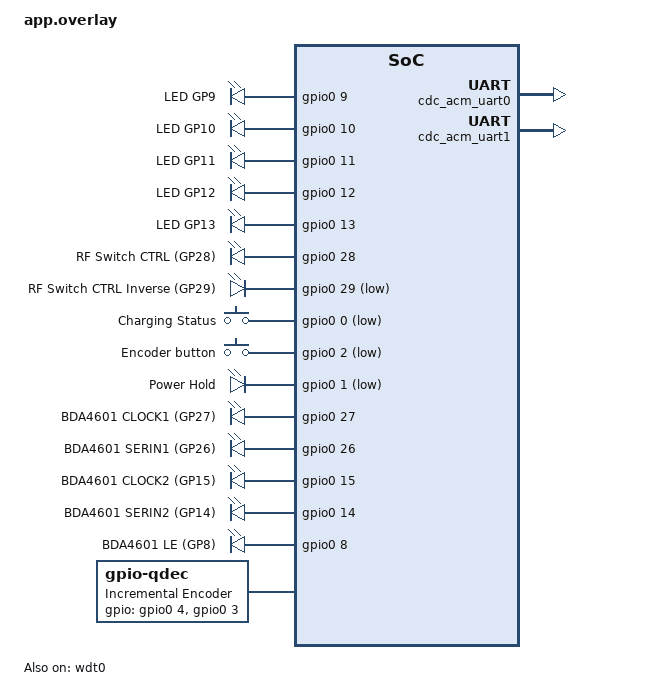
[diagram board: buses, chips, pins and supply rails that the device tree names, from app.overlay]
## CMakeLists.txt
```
cmake_minimum_required(VERSION 4.1.2)

set(BOARD rp2040_zero)

find_package(Zephyr)
project(fox-attenuator)

find_program(PICOTOOL_EXE NAMES picotool REQUIRED)

add_custom_target(flash_picotool
        COMMAND ${PICOTOOL_EXE} load -x ${CMAKE_BINARY_DIR}/zephyr/zephyr.uf2
        COMMENT "Wgrywanie oprogramowania na RP2040 przez picotool..."
        DEPENDS zephyr_final
)

add_subdirectory(src)
```

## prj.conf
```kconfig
CONFIG_GPIO=y
CONFIG_USB_DEVICE_STACK_NEXT=y
CONFIG_USBD_CDC_ACM_CLASS=y


# shell
CONFIG_CONSOLE=y
CONFIG_UART_CONSOLE=y
#CONFIG_UART_LINE_CTRL=y
CONFIG_SHELL=y
CONFIG_SHELL_BACKEND_SERIAL=y
CONFIG_SHELL_CMD_BUFF_SIZE=64


# logging
#CONFIG_LOG=n
#CONFIG_LOG_MODE_DEFERRED=y
#CONFIG_LOG_BACKEND_UART=y
#CONFIG_USBD_CDC_ACM_LOG_LEVEL_OFF=y
#CONFIG_LOG_BUFFER_SIZE=12000
#CONFIG_LOG_RUNTIME_FILTERING=y
#CONFIG_LOG_PRINTK=y

# C++
CONFIG_CPP=y
CONFIG_STD_CPP23=y
CONFIG_GLIBCXX_LIBCPP=y
CONFIG_REQUIRES_FULL_LIBCPP=y

# Enable Watchdog driver support
CONFIG_WATCHDOG=y
CONFIG_WDT_RPI_PICO=y

# inne
CONFIG_LED_STRIP=y
CONFIG_WS2812_STRIP_RPI_PICO_PIO=y
CONFIG_INPUT=y
CONFIG_INPUT_GPIO_KEYS=y
CONFIG_INPUT_GPIO_QDEC=y
CONFIG_SIZE_OPTIMIZATIONS=y
CONFIG_REBOOT=y
CONFIG_CLOCK_CONTROL=y
CONFIG_ZBUS=y

CONFIG_MAIN_STACK_SIZE=4096
CONFIG_ISR_STACK_SIZE=4096
CONFIG_IDLE_STACK_SIZE=4096
CONFIG_SYSTEM_WORKQUEUE_STACK_SIZE=4096
```

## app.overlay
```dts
#include <zephyr/dt-bindings/input/input-event-codes.h>

/ {
	chosen {
		zephyr,console = &cdc_acm_uart0;
		zephyr,shell-uart = &cdc_acm_uart1;
	};

	aliases {
		led-ws2812 = &led_strip;
		chg-status = &chg_stat_gpio;
		pwr-off = &pwr_off_gpio;
		btn0 = &btn_gpio;
		encoder0 = &encoder;

		bda-clk1 = &bda_clk1;
		bda-serin1 = &bda_serin1;
		bda-clk2 = &bda_clk2;
		bda-serin2 = &bda_serin2;
		bda-le = &bda_le;

		rf-sw-ctrl = &rf_sw_ctrl;
		rf-sw-ctrl-n = &rf_sw_ctrl_n;

	};

	leds {
		compatible = "gpio-leds";

		led9: led_9 {
			gpios = <&gpio0 9 GPIO_ACTIVE_HIGH>;
			label = "LED GP9";
		};

		led10: led_10 {
			gpios = <&gpio0 10 GPIO_ACTIVE_HIGH>;
			label = "LED GP10";
		};

		led11: led_11 {
			gpios = <&gpio0 11 GPIO_ACTIVE_HIGH>;
			label = "LED GP11";
		};

		led12: led_12 {
			gpios = <&gpio0 12 GPIO_ACTIVE_HIGH>;
			label = "LED GP12";
		};

		led13: led_13 {
			gpios = <&gpio0 13 GPIO_ACTIVE_HIGH>;
			label = "LED GP13";
		};
	};

	rf_switch {
		compatible = "gpio-leds";

		rf_sw_ctrl: rf_sw_ctrl {
			gpios = <&gpio0 28 GPIO_ACTIVE_HIGH>;
			label = "RF Switch CTRL (GP28)";
		};

		rf_sw_ctrl_n: rf_sw_ctrl_n {
			gpios = <&gpio0 29 GPIO_ACTIVE_LOW>;
			label = "RF Switch CTRL Inverse (GP29)";
		};
	};

	gpio_keys {
		compatible = "gpio-keys";

		chg_stat_gpio: chg_stat {
			gpios = <&gpio0 0 (GPIO_PULL_UP | GPIO_ACTIVE_LOW)>;
			label = "Charging Status";
			zephyr,code = <INPUT_KEY_0>;
		};

		btn_gpio: button_2 {
			gpios = <&gpio0 2 (GPIO_PULL_UP | GPIO_ACTIVE_LOW)>;
			label = "Encoder button";
			zephyr,code = <INPUT_KEY_ENTER>;
		};
	};

	pwr_ctrl {
		compatible = "gpio-leds";

		pwr_off_gpio: pwr_off {
			gpios = <&gpio0 1 GPIO_ACTIVE_LOW>;
			label = "Power Hold";
		};
	};

	bda4601_if {
		compatible = "gpio-leds";

		bda_clk1: bda_clk1 {
			gpios = <&gpio0 27 GPIO_ACTIVE_HIGH>;
			label = "BDA4601 CLOCK1 (GP27)";
		};

		bda_serin1: bda_serin1 {
			gpios = <&gpio0 26 GPIO_ACTIVE_HIGH>;
			label = "BDA4601 SERIN1 (GP26)";
		};

		bda_clk2: bda_clk2 {
			gpios = <&gpio0 15 GPIO_ACTIVE_HIGH>;
			label = "BDA4601 CLOCK2 (GP15)";
		};

		bda_serin2: bda_serin2 {
			gpios = <&gpio0 14 GPIO_ACTIVE_HIGH>;
			label = "BDA4601 SERIN2 (GP14)";
		};

		bda_le: bda_le {
			gpios = <&gpio0 8 (GPIO_ACTIVE_HIGH)>;
			label = "BDA4601 LE (GP8)";
		};
	};

	encoder: encoder {
		compatible = "gpio-qdec";
		gpios = <&gpio0 4 (GPIO_PULL_UP | GPIO_ACTIVE_HIGH)>, /* Phase A */
		        <&gpio0 3 (GPIO_PULL_UP | GPIO_ACTIVE_HIGH)>; /* Phase B */
		steps-per-period = <4>;
		sample-time-us = <200>;
		idle-timeout-ms = <100>;
		zephyr,axis = <0>;
		label = "Incremental Encoder";
	};

};

&uart0 {
	status = "disabled";
};

&zephyr_udc0 {
	cdc_acm_uart0: cdc_acm_uart0 {
		compatible = "zephyr,cdc-acm-uart";
	};

	cdc_acm_uart1: cdc_acm_uart1 {
		compatible = "zephyr,cdc-acm-uart";
	};
};

&pio0 {
	status = "okay";

	pio_ws2812: ws2812 {
		status = "okay";
		compatible = "worldsemi,ws2812-rpi-pio";
		bit-waveform = <3 3 4>;
		pinctrl-0 = <&ws2812_default>;
		pinctrl-names = "default";

		led_strip: led_strip {
			status = "okay";
			compatible = "worldsemi,ws2812-pb";
			chain-length = <1>;
			color-mapping = <LED_COLOR_ID_BLUE LED_COLOR_ID_RED LED_COLOR_ID_GREEN>;
			reset-delay = <64>;
		};
	};
};

&pinctrl {
	ws2812_default: ws2812_default {
		group1 {
			pinmux = <PIO0_P16>;
		};
	};
};

&clk_sys {
	clock-frequency = <DT_FREQ_M(48)>;
};

&clk_peri {
	clock-frequency = <DT_FREQ_M(48)>;
};

&vreg {
	raspberrypi,brown-out-detection;

	/* in uV
	 * Default: 860000 (0.86V).
	 * - 860000  (0.86V)
	 * - 903000  (0.903V)
	 * - 946000  (0.946V)
	 * - 989000  (0.989V)
	 * - 1032000 (1.032V)
	 */
	raspberrypi,brown-out-threshold = <1032000>;
};

&wdt0 {
	compatible = "raspberrypi,pico-watchdog";
	status = "okay";
};
```

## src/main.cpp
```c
#include "event.hpp"
#include "hardwareManager.hpp"
#include "inputListener.hpp"
#include "logicManager.hpp"
#include "watchdog.hpp"
#include <zephyr/kernel.h>

int main()
{
    auto wdt = Watchdog::Get();
    if (not wdt) {
        return -ENODEV;
    }

    wdt->Feed();

    msgbus::Bus eventBus;
    InputListener inputListener(eventBus);
    HardwareManager::Create(eventBus);
    LogicManager appLogic{eventBus};
    k_msleep(10);
    appLogic.Start();
    
    while (true) {
        wdt->Feed();
        k_msleep(1000);
    }

    return 0;
}
```

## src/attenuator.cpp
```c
#include "attenuator.hpp"

void Attenuator::Apply(int32_t value)
{
    if (bypass_ && value < 0) {
        bypass_ = false;
        return;
    }
    if (not bypass_ && value > 0 && attenuation_ == kMaxAttenuation) {
        bypass_ = true;
        return;
    }
    const int currentAttenuation = int32_t(attenuation_) + value;
    if (currentAttenuation >= kMaxAttenuation) {
        attenuation_ = kMaxAttenuation;
        return;
    }
    if (currentAttenuation <= kMinAttenuation) {
        attenuation_ = kMinAttenuation;
        return;
    }
    attenuation_ += value;
}

uint8_t Attenuator::GetAttenuatorBits(std::size_t attenuatorIdx)
{
    // lsb step must be applied only on one attenuator
    if (attenuatorIdx == 0) {
        const uint8_t lsbVal = (attenuation_ & 0b1);
        return (((attenuation_ >> 1) + lsbVal) & kMaxAttenuationPerAttenuator);
    }
    return (attenuation_ >> 1) & kMaxAttenuationPerAttenuator;
}
```

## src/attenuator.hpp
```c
#pragma once

#include "event.hpp"
#include <cstdint>

class Attenuator
{
  public:
    Attenuator() = default;
    void Apply(int32_t value);
    uint8_t GetAttenuatorBits(std::size_t attenuatorIdx);
    [[nodiscard]] bool GetBypass() const
    {
        return bypass_;
    }
    [[nodiscard]] uint8_t GetAttenuation() const
    {
        return attenuation_;
    }
    [[nodiscard]] static uint8_t GetMaxAttenuation()
    {
        return kMaxAttenuation;
    }

  private:
    bool bypass_{false};
    uint8_t attenuation_{0};

    static constexpr uint8_t kMinAttenuation              = 0UL;
    static constexpr uint8_t kMaxAttenuationPerAttenuator = 0b0011'1111UL;
    static constexpr uint8_t kMaxAttenuation              = 0b0111'1110UL;
};
```

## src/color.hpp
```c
#pragma once

#include <cstdint>

struct Color
{
    const uint8_t red;
    const uint8_t green;
    const uint8_t blue;
};

namespace colors
{
    constexpr auto kRed    = Color{255, 0, 0};
    constexpr auto kGreen  = Color{0, 255, 0};
    constexpr auto kBlue   = Color{0, 0, 255};
    constexpr auto kViolet = Color{255, 0, 255};
    constexpr auto kBlack  = Color{0, 0, 0};
} // namespace colors
```

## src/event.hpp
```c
#pragma once
#include "color.hpp"
#include "eventBusImpl.hpp"
#include <cstdint>

namespace msgbus
{
    namespace events
    {
        struct EncoderPressEvent
        {
            enum class Type
            {
                kPressed,
                kReleased,
            };

            const Type eventType;
        };
        struct EncoderRotated
        {
            const int32_t value;
        };
        struct LedMatrixSet
        {
            const uint8_t value;
        };
        struct RgbLedSet
        {
            const Color color;
        };
        struct PowerOff
        {};

        struct ApplyAttenuationChange
        {
            const int32_t value;
        };

        struct AttenuationInfo
        {
            const uint32_t attenuationHalfDb;
            const uint32_t maxAttenuationHalfDb;
            const bool bypass;
        };
        struct ChargerEvent
        {
            const bool isCharged;
        };

    } // namespace events

    using SystemEvents = EventBus<std::monostate,
                                  events::EncoderRotated,
                                  events::EncoderPressEvent,
                                  events::LedMatrixSet,
                                  events::RgbLedSet,
                                  events::PowerOff,
                                  events::ApplyAttenuationChange,
                                  events::AttenuationInfo,
                                  events::ChargerEvent>;
    using Bus          = SystemEvents::Dispatcher<10>;
} // namespace msgbus
```

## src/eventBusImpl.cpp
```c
#include "eventBusImpl.hpp"
```

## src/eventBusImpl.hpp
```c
#pragma once

#include "noncopyable.hpp"

#include <array>
#include <cstdint>
#include <variant>

namespace msgbus
{
    template <typename T, typename Event>
    concept HandlerFor = requires(T& handler, const Event& event) {
        { handler.Handle(event) } noexcept;
    };

    template <typename... Events> class EventBus
    {
      public:
        using EventVariant = std::variant<Events...>;

        class ISubscriber
        {
          public:
            constexpr virtual ~ISubscriber()                         = default;
            virtual void OnEvent(const EventVariant& event) noexcept = 0;
        };

        template <typename Target, typename Event> class SubscriberAdapter final : public ISubscriber
        {
          public:
            constexpr explicit SubscriberAdapter(Target& instance) noexcept
                requires HandlerFor<Target, Event>
                : instance_{instance}
            {}

            void OnEvent(const EventVariant& event) noexcept override
            {
                if (std::holds_alternative<Event>(event)) {
                    instance_.EnqueueEvent(event);
                }
            }

          private:
            Target& instance_;
        };

        template <std::size_t MaxSubscribers> class Dispatcher : public NonCopyable
        {
          public:
            constexpr bool Subscribe(ISubscriber& subscriber) noexcept
            {
                if (count_ >= MaxSubscribers) {
                    return false;
                }
                subscribers_[count_++] = &subscriber;
                return true;
            }

            void Publish(const EventVariant& event) noexcept
            {
                for (std::size_t i = 0; i < count_; ++i) {
                    subscribers_[i]->OnEvent(event);
                }
            }

            template <typename E>
                requires(std::same_as<E, Events> || ...)
            void Publish(E&& ev) noexcept
            {
                Publish(EventVariant{std::forward<E>(ev)});
            }

          private:
            std::array<ISubscriber*, MaxSubscribers> subscribers_{};
            std::size_t count_{0};
        };
    };

} // namespace msgbus
```

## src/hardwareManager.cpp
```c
#include "hardwareManager.hpp"

#include "event.hpp"

#include <algorithm>
#include <optional>
#include <zephyr/drivers/gpio.h>
#include <zephyr/usb/usbd.h>

namespace
{
    K_THREAD_STACK_DEFINE(hardwareManagerStack, 2048);
    const gpio_dt_spec led0    = GPIO_DT_SPEC_GET(DT_NODELABEL(led9), gpios);
    const gpio_dt_spec led1    = GPIO_DT_SPEC_GET(DT_NODELABEL(led10), gpios);
    const gpio_dt_spec led2    = GPIO_DT_SPEC_GET(DT_NODELABEL(led11), gpios);
    const gpio_dt_spec led3    = GPIO_DT_SPEC_GET(DT_NODELABEL(led12), gpios);
    const gpio_dt_spec led4    = GPIO_DT_SPEC_GET(DT_NODELABEL(led13), gpios);
    const gpio_dt_spec pwrOff  = GPIO_DT_SPEC_GET(DT_NODELABEL(pwr_off_gpio), gpios);
    const gpio_dt_spec btnGpio = GPIO_DT_SPEC_GET(DT_NODELABEL(btn_gpio), gpios);
    const gpio_dt_spec clk1    = GPIO_DT_SPEC_GET(DT_ALIAS(bda_clk1), gpios);
    const gpio_dt_spec serin1  = GPIO_DT_SPEC_GET(DT_ALIAS(bda_serin1), gpios);
    const gpio_dt_spec clk2    = GPIO_DT_SPEC_GET(DT_ALIAS(bda_clk2), gpios);
    const gpio_dt_spec serin2  = GPIO_DT_SPEC_GET(DT_ALIAS(bda_serin2), gpios);
    const gpio_dt_spec le      = GPIO_DT_SPEC_GET(DT_ALIAS(bda_le), gpios);
    const gpio_dt_spec rfCtrl  = GPIO_DT_SPEC_GET(DT_ALIAS(rf_sw_ctrl), gpios);
    const gpio_dt_spec rfCtrlN = GPIO_DT_SPEC_GET(DT_ALIAS(rf_sw_ctrl_n), gpios);
    const device* ledStrip     = DEVICE_DT_GET(DT_ALIAS(led_strip));

    USBD_DEVICE_DEFINE(usbdevice, DEVICE_DT_GET(DT_NODELABEL(zephyr_udc0)), 0x2e8a, 0x000a);

    USBD_DESC_LANG_DEFINE(usbdlang);
    USBD_DESC_MANUFACTURER_DEFINE(usbdeviceManufacturer, "SP5YAM");
    USBD_DESC_PRODUCT_DEFINE(usbdeviceProduct, "Fox attenuator");

    // 500 mA declararion
    USBD_CONFIGURATION_DEFINE(usbdeviceConfig, USB_SCD_SELF_POWERED, 250, nullptr);

} // namespace

namespace
{
    std::optional<HardwareManager> hardwareManagerObj;
}

HardwareManager* HardwareManager::Create(msgbus::Bus& bus)
{
    if (not hardwareManagerObj) {
        hardwareManagerObj.emplace(Key{}, bus);
        if (hardwareManagerObj->initialized_) {
            return &hardwareManagerObj.value();
        }
        hardwareManagerObj = std::nullopt;
    }
    return nullptr;
}

bool isBitSet(uint8_t val, uint8_t bit)
{
    return (val & (1 << bit)) != 0;
}

void HardwareManager::Handle(const msgbus::events::LedMatrixSet& lm) noexcept
{
    const auto val = lm.value;
    gpio_pin_set_dt(&led0, isBitSet(val, 0) ? 1 : 0);
    gpio_pin_set_dt(&led1, isBitSet(val, 1) ? 1 : 0);
    gpio_pin_set_dt(&led2, isBitSet(val, 2) ? 1 : 0);
    gpio_pin_set_dt(&led3, isBitSet(val, 3) ? 1 : 0);
    gpio_pin_set_dt(&led4, isBitSet(val, 4) ? 1 : 0);
}
void HardwareManager::Handle(const msgbus::events::PowerOff& ph) noexcept
{
    SetPinPowerOff();
}
void HardwareManager::Handle(const msgbus::events::RgbLedSet& rgb) noexcept
{
    rgbLed_.SetColor(rgb.color);
}
void HardwareManager::Handle(const msgbus::events::ApplyAttenuationChange& aac) noexcept
{
    attenuator_.Apply(aac.value);
    const auto attenuator0Val = attenuator_.GetAttenuatorBits(0);
    const auto attenuator1Val = attenuator_.GetAttenuatorBits(1);
    SetAttenuator(attenuator0Val, attenuator1Val);

    if (attenuator_.GetBypass()) {
        RfSwitchSetPath(true);
    }
    else {
        RfSwitchSetPath(false);
    }

    msgBus_.Publish(msgbus::events::AttenuationInfo{.attenuationHalfDb    = attenuator_.GetAttenuation(),
                                                    .maxAttenuationHalfDb = Attenuator::GetMaxAttenuation(),
                                                    .bypass               = attenuator_.GetBypass()});
}
void HardwareManager::EnqueueEvent(const EventVariant& event) noexcept
{
    k_msgq_put(&msgQueue_, &event, K_NO_WAIT);
}

HardwareManager::HardwareManager(Key, msgbus::Bus& bus)
    : subLedMatrixSet_{*this}, subPowerHoldSet_{*this}, subRgbLedSet_{*this}, subApplyAttenuationChange_{*this},
      msgBus_(bus), rgbLed_(ledStrip)
{
    initialized_ = SetupHardware();
    if (not initialized_) {
        return;
    }

    bus.Subscribe(subLedMatrixSet_);
    bus.Subscribe(subPowerHoldSet_);
    bus.Subscribe(subRgbLedSet_);
    bus.Subscribe(subApplyAttenuationChange_);

    k_msgq_init(&msgQueue_, msgBuffer_.data(), sizeof(EventVariant), kQueueDepth);
    k_thread_create(&threadData_,
                    hardwareManagerStack,
                    K_THREAD_STACK_SIZEOF(hardwareManagerStack),
                    ThreadEntry,
                    this,
                    nullptr,
                    nullptr,
                    K_PRIO_COOP(7),
                    0,
                    K_NO_WAIT);
}

// helpers
namespace
{
    template <std::size_t N> bool IsReady(const std::array<const gpio_dt_spec*, N>& ary)
    {
        return std::ranges::all_of(
            ary.begin(), ary.end(), [](const gpio_dt_spec* item) { return gpio_is_ready_dt(item); });
    }

    template <std::size_t N> void SetInactive(const std::array<const gpio_dt_spec*, N>& ary)
    {
        std::ranges::for_each(ary.begin(), ary.end(), [](const gpio_dt_spec* item) {
            gpio_pin_configure_dt(item, GPIO_OUTPUT_INACTIVE);
        });
    }

    template <std::size_t N> void SetInput(const std::array<const gpio_dt_spec*, N>& ary)
    {
        std::ranges::for_each(
            ary.begin(), ary.end(), [](const gpio_dt_spec* item) { gpio_pin_configure_dt(item, GPIO_INPUT); });
    }
} // namespace

bool HardwareManager::SetupHardware() noexcept
{
    const std::array outputs = std::to_array(
        {&pwrOff, &led0, &led1, &led2, &led3, &led4, &le, &clk1, &clk2, &serin1, &serin2, &rfCtrl, &rfCtrlN});
    const std::array inputs = std::to_array({&btnGpio});

    if (not IsReady(inputs)) {
        return false;
    }
    if (not IsReady(outputs)) {
        return false;
    }
    SetInactive(outputs);
    SetInput(inputs);

    if (SetupUsb() < 0) {
        return false;
    }

    if (not rgbLed_.Ready()) {
        return false;
    }

    return true;
}

int HardwareManager::SetupUsb()
{
    const device* kUsbSerialPort0 = DEVICE_DT_GET(DT_NODELABEL(cdc_acm_uart0));
    if (!device_is_ready(kUsbSerialPort0)) {
        return -ENODEV;
    }
    const device* kUsbSerialPort1 = DEVICE_DT_GET(DT_NODELABEL(cdc_acm_uart1));
    if (!device_is_ready(kUsbSerialPort1)) {
        return -ENODEV;
    }

    int err;

    err = usbd_add_descriptor(&usbdevice, &usbdlang);
    if (err) {
        return err;
    }

    err = usbd_add_descriptor(&usbdevice, &usbdeviceManufacturer);
    if (err) {
        return err;
    }

    err = usbd_add_descriptor(&usbdevice, &usbdeviceProduct);
    if (err) {
        return err;
    }

    err = usbd_add_configuration(&usbdevice, USBD_SPEED_FS, &usbdeviceConfig);
    if (err) {
        return err;
    }

    err = usbd_register_all_classes(&usbdevice, USBD_SPEED_FS, 1, nullptr);
    if (err) {
        return err;
    }

    err = usbd_init(&usbdevice);
    if (err) {
        return err;
    }

    return usbd_enable(&usbdevice);
}

void HardwareManager::ProcessEvent(const msgbus::SystemEvents::EventVariant& event) noexcept
{
    std::visit(
        [this](const auto& concrete_event) {
            if constexpr (requires { Handle(concrete_event); }) {
                Handle(concrete_event);
            }
        },
        event);
}

void HardwareManager::Run()
{
    msgbus::SystemEvents::EventVariant event;
    while (true) {
        if (k_msgq_get(&msgQueue_, &event, K_FOREVER) == 0) {
            ProcessEvent(event);
        }
    }
}
void HardwareManager::RfSwitchSetPath(bool antennaBypass)
{
    gpio_pin_set_dt(&rfCtrl, antennaBypass ? 0 : 1);
    gpio_pin_set_dt(&rfCtrlN, antennaBypass ? 0 : 1);
}

void HardwareManager::SetAttenuator(uint8_t value1, uint8_t value2)
{
    gpio_pin_set_dt(&clk1, 0);
    gpio_pin_set_dt(&serin1, 0);
    gpio_pin_set_dt(&clk2, 0);
    gpio_pin_set_dt(&serin2, 0);

    for (unsigned i = 0; i < 6; i++) {
        const auto shift       = i;
        const auto val1Shifted = (value1 & (0b100000U >> shift)) != 0;
        const auto val2Shifted = (value2 & (0b100000U >> shift)) != 0;
        gpio_pin_set_dt(&serin1, val1Shifted);
        gpio_pin_set_dt(&serin2, val2Shifted);
        k_busy_wait(1);
        gpio_pin_set_dt(&clk1, 1);
        gpio_pin_set_dt(&clk2, 1);
        k_busy_wait(1);
        gpio_pin_set_dt(&clk1, 0);
        gpio_pin_set_dt(&clk2, 0);
        k_busy_wait(1);
        gpio_pin_set_dt(&serin1, 0);
        gpio_pin_set_dt(&serin2, 0);
        k_busy_wait(10);
    }

    k_busy_wait(6);
    gpio_pin_set_dt(&le, 1);
    k_busy_wait(6);
    gpio_pin_set_dt(&le, 0);
}

void HardwareManager::SetPinPowerOff()
{
    gpio_pin_set_dt(&pwrOff, 1);
}
```

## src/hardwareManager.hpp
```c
#pragma once

#include "attenuator.hpp"
#include "event.hpp"
#include "noncopyable.hpp"
#include "rgbLed.hpp"
#include <zephyr/kernel.h>
#include <zephyr/usb/usbd.h>

class HardwareManager : public NonCopyable
{
    struct Key
    {};

  public:
    static HardwareManager* Create(msgbus::Bus& bus);
    explicit HardwareManager(Key, msgbus::Bus&);

    void Handle(const msgbus::events::LedMatrixSet&) noexcept;
    void Handle(const msgbus::events::PowerOff&) noexcept;
    void Handle(const msgbus::events::RgbLedSet&) noexcept;
    void Handle(const msgbus::events::ApplyAttenuationChange&) noexcept;
    using EventVariant = msgbus::SystemEvents::EventVariant;
    void EnqueueEvent(const EventVariant& event) noexcept;

  private:
    bool SetupHardware() noexcept;
    int SetupUsb();
    void ProcessEvent(const EventVariant& event) noexcept;
    void Run();

    void RfSwitchSetPath(bool antennaBypass);
    void SetAttenuator(uint8_t value1, uint8_t value2);
    void SetPinPowerOff();
    static void ThreadEntry(void* p1, void* p2, void* p3) noexcept
    {
        static_cast<HardwareManager*>(p1)->Run();
    }

    Attenuator attenuator_{};
    k_thread threadData_{};
    k_msgq msgQueue_{};
    static constexpr size_t kQueueDepth = 16;
    alignas(EventVariant) std::array<char, sizeof(EventVariant) * kQueueDepth> msgBuffer_{};
    msgbus::SystemEvents::SubscriberAdapter<HardwareManager, msgbus::events::LedMatrixSet> subLedMatrixSet_;
    msgbus::SystemEvents::SubscriberAdapter<HardwareManager, msgbus::events::PowerOff> subPowerHoldSet_;
    msgbus::SystemEvents::SubscriberAdapter<HardwareManager, msgbus::events::RgbLedSet> subRgbLedSet_;
    msgbus::SystemEvents::SubscriberAdapter<HardwareManager, msgbus::events::ApplyAttenuationChange>
        subApplyAttenuationChange_;
    msgbus::Bus& msgBus_;
    RgbLed rgbLed_;
    bool initialized_{false};
};
```

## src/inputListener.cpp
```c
#include "inputListener.hpp"
// #include "zephyr/logging/log.h"
// #include "zephyr/logging/log_ctrl.h"

// LOG_MODULE_REGISTER(inputListener, CONFIG_LOG_DEFAULT_LEVEL);

InputListener* InputListener::instance_{nullptr};

InputListener::InputListener(msgbus::Bus& eventBus) : eventBus_(eventBus)
{
    instance_ = this;
    INPUT_CALLBACK_DEFINE(nullptr, InputCallbackWrapper, nullptr);
}
InputListener::~InputListener()
{}
void InputListener::InputCallbackWrapper(input_event* evt, void* user_data)
{
    if (not instance_) {
        return;
    }
    instance_->InputCallback(evt);
}

void InputListener::InputCallback(input_event* evt)
{
    switch (evt->type) {
    case INPUT_EV_REL: {
        if (evt->code == INPUT_REL_X) {
            eventBus_.Publish(msgbus::events::EncoderRotated{evt->value});
        }
        break;
    }
    case INPUT_EV_KEY: {
        if (evt->code == INPUT_KEY_ENTER) {
            using PressType                 = msgbus::events::EncoderPressEvent::Type;
            constexpr int32_t kValuePressed = 1;
            const auto pressType            = evt->value == kValuePressed ? PressType::kPressed : PressType::kReleased;
            eventBus_.Publish(msgbus::events::EncoderPressEvent{pressType});
        }
        else if (evt->code == INPUT_KEY_0) {
            eventBus_.Publish(msgbus::events::ChargerEvent{evt->value != 0});
        }
        break;
    }
    }
}
```

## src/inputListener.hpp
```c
#pragma once

#include "event.hpp"
#include <zephyr/input/input.h>

class InputListener
{
  public:
    InputListener(msgbus::Bus& eventBus);
    ~InputListener();

  private:
    static void InputCallbackWrapper(input_event* evt, void* user_data);
    static InputListener* instance_; // "user_data" not works dynamicly

    void InputCallback(input_event* evt);

    msgbus::Bus& eventBus_;
};
```

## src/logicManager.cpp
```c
#include "logicManager.hpp"

namespace
{
    K_THREAD_STACK_DEFINE(gStack, 2048);
} // namespace

LogicManager::LogicManager(msgbus::Bus& bus) : msgBus_(bus)
{
    msgBus_.Subscribe(subEncoderRotated_);
    msgBus_.Subscribe(subEncoderPressEvent_);
    msgBus_.Subscribe(subChargerEvent_);
    msgBus_.Subscribe(subAttenuationInfo_);

    k_msgq_init(&msgQueue_, msgBuffer_.data(), sizeof(EventVariant), kQueueDepth);
    k_thread_create(&threadData_,
                    gStack,
                    K_THREAD_STACK_SIZEOF(gStack),
                    ThreadEntry,
                    this,
                    nullptr,
                    nullptr,
                    K_PRIO_COOP(7),
                    0,
                    K_NO_WAIT);
}

void LogicManager::Handle(const msgbus::events::EncoderRotated& er) noexcept
{
    msgBus_.Publish(msgbus::events::ApplyAttenuationChange{er.value});
}

void LogicManager::Handle(const msgbus::events::AttenuationInfo& er) noexcept
{
    constexpr uint8_t kMaxColorValue      = 0xFFU;
    constexpr uint8_t kShadingCoefficient = 5;
    if (er.bypass) {
        msgBus_.Publish(msgbus::events::RgbLedSet{colors::kBlue});
        msgBus_.Publish(msgbus::events::LedMatrixSet{0});
    }
    else {
        constexpr auto kLedCnt = 5;
        const uint8_t ledsOn =
            (er.attenuationHalfDb * kLedCnt + (er.maxAttenuationHalfDb / 2)) / er.maxAttenuationHalfDb;
        const uint8_t ledMatrix = (1U << ledsOn) - 1;
        const uint8_t r         = ((kMaxColorValue * er.attenuationHalfDb) / er.maxAttenuationHalfDb);
        const uint8_t g         = (kMaxColorValue - r);
        if (er.attenuationHalfDb == 0) {
            msgBus_.Publish(msgbus::events::RgbLedSet{colors::kGreen});
        }
        else if (er.attenuationHalfDb == er.maxAttenuationHalfDb) {
            msgBus_.Publish(msgbus::events::RgbLedSet{colors::kRed});
        }
        else {
            const auto shadedRed      = uint8_t(r / kShadingCoefficient);
            const auto shadedGreen    = uint8_t(g / kShadingCoefficient);
            constexpr auto shadedBlue = 0;

            msgBus_.Publish(msgbus::events::RgbLedSet{Color{shadedRed, shadedGreen, shadedBlue}});
        }
        msgBus_.Publish(msgbus::events::LedMatrixSet{.value = ledMatrix});
    }
}

void LogicManager::Handle(const msgbus::events::EncoderPressEvent& epe) noexcept
{
    if (epe.eventType == msgbus::events::EncoderPressEvent::Type::kPressed) {
        msgBus_.Publish(msgbus::events::PowerOff{});
    }
}

void LogicManager::Handle(const msgbus::events::ChargerEvent& ce) noexcept
{
    if (ce.isCharged) {
        msgBus_.Publish(msgbus::events::RgbLedSet{colors::kViolet});
    }
}

void LogicManager::EnqueueEvent(const EventVariant& event) noexcept
{
    k_msgq_put(&msgQueue_, &event, K_NO_WAIT);
}

void LogicManager::Start()
{
    // simulate encoder rotation to setup all components
    msgBus_.Publish(msgbus::events::EncoderRotated{-1});
}

void LogicManager::Run()
{
    msgbus::SystemEvents::EventVariant event;
    while (true) {
        if (k_msgq_get(&msgQueue_, &event, K_HOURS(1)) == 0) {
            ProcessEvent(event);
        }
        else {
            msgBus_.Publish(msgbus::events::PowerOff{});
        }
    }
}

void LogicManager::ProcessEvent(const msgbus::SystemEvents::EventVariant& event) noexcept
{
    std::visit(
        [this](const auto& concrete_event) {
            if constexpr (requires { Handle(concrete_event); }) {
                Handle(concrete_event);
            }
        },
        event);
}
```

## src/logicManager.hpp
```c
#pragma once
#include "event.hpp"
#include <cstdint>
#include <zephyr/kernel.h>

class LogicManager
{
  public:
    explicit LogicManager(msgbus::Bus& bus);

    void Handle(const msgbus::events::EncoderRotated&) noexcept;
    void Handle(const msgbus::events::EncoderPressEvent&) noexcept;
    void Handle(const msgbus::events::ChargerEvent&) noexcept;
    void Handle(const msgbus::events::AttenuationInfo&) noexcept;

    using EventVariant = msgbus::SystemEvents::EventVariant;
    void EnqueueEvent(const EventVariant& event) noexcept;
    void Start();

  private:
    void ProcessEvent(const EventVariant& event) noexcept;
    void Run();

    msgbus::Bus& msgBus_;
    msgbus::SystemEvents::SubscriberAdapter<LogicManager, msgbus::events::EncoderRotated> subEncoderRotated_{*this};
    msgbus::SystemEvents::SubscriberAdapter<LogicManager, msgbus::events::EncoderPressEvent> subEncoderPressEvent_{
        *this};
    msgbus::SystemEvents::SubscriberAdapter<LogicManager, msgbus::events::ChargerEvent> subChargerEvent_{*this};
    msgbus::SystemEvents::SubscriberAdapter<LogicManager, msgbus::events::AttenuationInfo> subAttenuationInfo_{*this};

    k_thread threadData_{};
    k_msgq msgQueue_{};
    static constexpr size_t kQueueDepth = 16;
    alignas(EventVariant) std::array<char, sizeof(EventVariant) * kQueueDepth> msgBuffer_{};
    static void ThreadEntry(void* p1, void* p2, void* p3) noexcept
    {
        static_cast<LogicManager*>(p1)->Run();
    }
};
```
